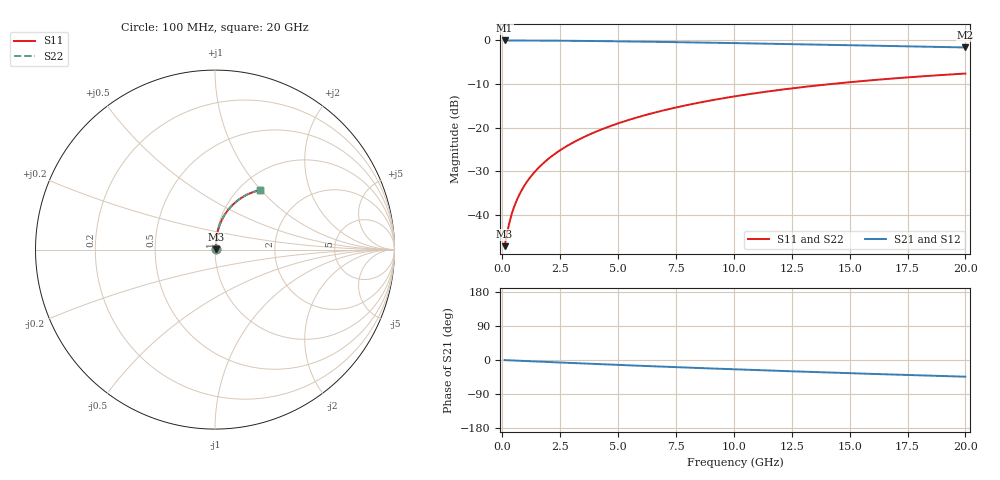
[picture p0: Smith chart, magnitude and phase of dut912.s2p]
! Touchstone file exported from HFSS 2024.1.0
!  File:  C:/UserFiles/LocalFiles/RDL_TSV_Batchsim/temp_RDL_bottom_912_1779940560.aedt
!  Generated:  11:58:33 AM May 28, 2026
!  Design:  RDL_bottom
!  Project:  temp_RDL_bottom_912_1779940560
!  Setup:  Setup1
!  Solution:  Sweep
! Variables:
!  dtsv = 10.80580581um
!  hbump = 3um
!  htsv = 92.3um
!  ldown = 589.69um
!  lrdl = 100um
!  p = 40
!  p1 = 54.61um
!  rhole = 1um
!  t = 450um
!  tdown = 2.86um
!  trdl = 3.915915916um
!  wdown = 21.19um
!  wrdl = 20um
# GHz S MA R 50.000000
! Terminal data exported
! Port[1] = RDL1_T1
! Port[2] = RDL1_T2
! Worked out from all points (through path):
!   200 points, 100 MHz to 20 GHz, reference 50 ohm
!   highest |S21| = -0.03 dB at 100 MHz (marker M1); lowest = -1.6 dB at 20 GHz (marker M2)
!   group delay of S21, straight-line fit = 6.09 ps
!   lowest |S11| = -47.2 dB at 100 MHz (marker M3), VSWR 1.01, Z = 50.4 + j0.238 ohm
!   |S11| at or under -10 dB: start of sweep to 14.24 GHz
!   |S22| runs from -47.2 to -7.6 dB; largest |S21 - S12| = 4.5e-15
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0.1  0.004362 32.9  0.9963 -0.3  0.9963 -0.3  0.004362 32.9
! Gamma 0 0 0 0
! Port Impedance 50 0 50 0
0.2  0.006028 51.1  0.9962 -0.6  0.9962 -0.6  0.006028 51.1
0.3  0.007994 60.4  0.996 -0.8  0.996 -0.8  0.007994 60.4
0.4  0.01004 65.8  0.9958 -1.1  0.9958 -1.1  0.01004 65.8
0.5  0.0121 69.3  0.9956 -1.4  0.9956 -1.4  0.0121 69.3
0.6  0.01417 71.8  0.9954 -1.6  0.9954 -1.6  0.01417 71.8
0.8  0.01833 75.2  0.995 -2.2  0.995 -2.2  0.01833 75.2
1.1  0.02464 78.2  0.9943 -2.9  0.9943 -2.9  0.02464 78.2
1.3  0.02888 79.4  0.9938 -3.5  0.9938 -3.5  0.02888 79.5
1.6  0.03531 80.7  0.9929 -4.3  0.9929 -4.3  0.03531 80.7
2.1  0.04615 81.8  0.9912 -5.6  0.9912 -5.6  0.04616 81.9
2.7  0.05935 82.4  0.9886 -7.1  0.9886 -7.1  0.05936 82.4
3.5  0.07725 82.3  0.9843 -9.2  0.9843 -9.2  0.07727 82.3
4.2  0.09315 81.8  0.9799 -10.9  0.9799 -10.9  0.09318 81.8
5  0.1116 80.9  0.9742 -12.9  0.9742 -12.9  0.1116 81.0
5.9  0.1325 79.7  0.9671 -15.1  0.9671 -15.1  0.1325 79.8
6.8  0.1535 78.3  0.9595 -17.3  0.9595 -17.3  0.1536 78.3
8.4  0.1906 75.4  0.9449 -20.9  0.9449 -20.9  0.1907 75.4
10.1  0.2292 72.0  0.9284 -24.7  0.9284 -24.7  0.2294 72.1
13.4  0.2996 65.4  0.8951 -31.6  0.8951 -31.6  0.2998 65.4
16.7  0.362 58.9  0.8613 -38.1  0.8613 -38.1  0.3624 59.0
20  0.416 52.8  0.8281 -44.1  0.8281 -44.1  0.4165 52.9
